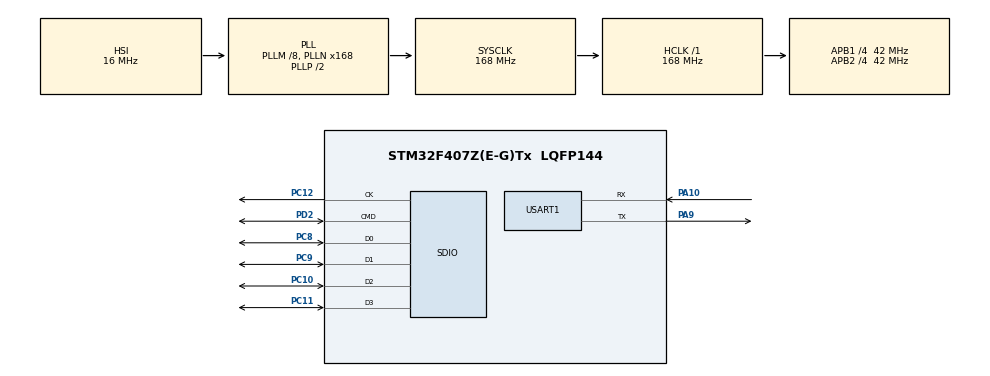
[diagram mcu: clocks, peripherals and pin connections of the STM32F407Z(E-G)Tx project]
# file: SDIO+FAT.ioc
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Dma.Request0=USART1_RX
Dma.Request1=USART1_TX
Dma.Request2=SDIO_RX
Dma.Request3=SDIO_TX
Dma.SDIO_RX.2.Direction=DMA_PERIPH_TO_MEMORY
Dma.SDIO_RX.2.FIFOMode=DMA_FIFOMODE_ENABLE
Dma.SDIO_RX.2.FIFOThreshold=DMA_FIFO_THRESHOLD_FULL
Dma.SDIO_RX.2.Instance=DMA2_Stream3
Dma.SDIO_RX.2.MemBurst=DMA_MBURST_INC4
Dma.SDIO_RX.2.MemDataAlignment=DMA_MDATAALIGN_WORD
Dma.SDIO_RX.2.MemInc=DMA_MINC_ENABLE
Dma.SDIO_RX.2.Mode=DMA_PFCTRL
Dma.SDIO_RX.2.PeriphBurst=DMA_PBURST_INC4
Dma.SDIO_RX.2.PeriphDataAlignment=DMA_PDATAALIGN_WORD
Dma.SDIO_RX.2.PeriphInc=DMA_PINC_DISABLE
Dma.SDIO_RX.2.Priority=DMA_PRIORITY_MEDIUM
Dma.SDIO_TX.3.Direction=DMA_MEMORY_TO_PERIPH
Dma.SDIO_TX.3.FIFOMode=DMA_FIFOMODE_ENABLE
Dma.SDIO_TX.3.FIFOThreshold=DMA_FIFO_THRESHOLD_FULL
Dma.SDIO_TX.3.Instance=DMA2_Stream6
Dma.SDIO_TX.3.MemBurst=DMA_MBURST_INC4
Dma.SDIO_TX.3.MemDataAlignment=DMA_MDATAALIGN_WORD
Dma.SDIO_TX.3.MemInc=DMA_MINC_ENABLE
Dma.SDIO_TX.3.Mode=DMA_PFCTRL
Dma.SDIO_TX.3.PeriphBurst=DMA_PBURST_INC4
Dma.SDIO_TX.3.PeriphDataAlignment=DMA_PDATAALIGN_WORD
Dma.SDIO_TX.3.PeriphInc=DMA_PINC_DISABLE
Dma.SDIO_TX.3.Priority=DMA_PRIORITY_MEDIUM
Dma.USART1_RX.0.Direction=DMA_PERIPH_TO_MEMORY
Dma.USART1_RX.0.FIFOMode=DMA_FIFOMODE_DISABLE
Dma.USART1_RX.0.Instance=DMA2_Stream2
Dma.USART1_RX.0.MemDataAlignment=DMA_MDATAALIGN_BYTE
Dma.USART1_RX.0.MemInc=DMA_MINC_ENABLE
Dma.USART1_RX.0.Mode=DMA_NORMAL
Dma.USART1_RX.0.PeriphDataAlignment=DMA_PDATAALIGN_BYTE
Dma.USART1_RX.0.PeriphInc=DMA_PINC_DISABLE
Dma.USART1_RX.0.Priority=DMA_PRIORITY_LOW
Dma.USART1_TX.1.Direction=DMA_MEMORY_TO_PERIPH
Dma.USART1_TX.1.FIFOMode=DMA_FIFOMODE_DISABLE
Dma.USART1_TX.1.Instance=DMA2_Stream7
Dma.USART1_TX.1.MemDataAlignment=DMA_MDATAALIGN_BYTE
Dma.USART1_TX.1.MemInc=DMA_MINC_ENABLE
Dma.USART1_TX.1.Mode=DMA_NORMAL
Dma.USART1_TX.1.PeriphDataAlignment=DMA_PDATAALIGN_BYTE
Dma.USART1_TX.1.PeriphInc=DMA_PINC_DISABLE
Dma.USART1_TX.1.Priority=DMA_PRIORITY_LOW
FATFS._CODE_PAGE=936
FATFS._MAX_LFN=255
FATFS._USE_LFN=3
FREERTOS.HEAP_NUMBER=4
FREERTOS.Tasks01=defaultTask,0,128,StartDefaultTask,Default,NULL
FREERTOS.configMINIMAL_STACK_SIZE=128
FREERTOS.configTOTAL_HEAP_SIZE=15360
Mcu.Family=STM32F4
Mcu.Name=STM32F407Z(E-G)Tx
Mcu.Package=LQFP144
NVIC.DMA2_Stream2_IRQn=true\:5\:0\:false\:false\:true\:true\:false\:true
NVIC.DMA2_Stream3_IRQn=true\:6\:0\:true\:false\:true\:true\:false\:true
NVIC.DMA2_Stream6_IRQn=true\:6\:0\:true\:false\:true\:true\:false\:true
NVIC.DMA2_Stream7_IRQn=true\:5\:0\:false\:false\:true\:true\:false\:true
NVIC.PriorityGroup=NVIC_PRIORITYGROUP_4
NVIC.SDIO_IRQn=true\:5\:0\:false\:false\:true\:true\:true\:true
NVIC.USART1_IRQn=true\:5\:0\:false\:false\:true\:true\:true\:true
PA10.Mode=Asynchronous
PA10.Signal=USART1_RX
PA9.Mode=Asynchronous
PA9.Signal=USART1_TX
PC10.Mode=SD_4_bits_Wide_bus
PC10.Signal=SDIO_D2
PC11.Mode=SD_4_bits_Wide_bus
PC11.Signal=SDIO_D3
PC12.Mode=SD_4_bits_Wide_bus
PC12.Signal=SDIO_CK
PC8.Mode=SD_4_bits_Wide_bus
PC8.Signal=SDIO_D0
PC9.Mode=SD_4_bits_Wide_bus
PC9.Signal=SDIO_D1
PD2.Mode=SD_4_bits_Wide_bus
PD2.Signal=SDIO_CMD
PH0-OSC_IN.Mode=HSE-External-Oscillator
PH0-OSC_IN.Signal=RCC_OSC_IN
PH1-OSC_OUT.Mode=HSE-External-Oscillator
PH1-OSC_OUT.Signal=RCC_OSC_OUT
ProjectManager.HeapSize=0x1000
ProjectManager.StackSize=0x1000
ProjectManager.TargetToolchain=TrueSTUDIO
RCC.48MHZClocksFreq_Value=48000000
RCC.AHBFreq_Value=168000000
RCC.APB1CLKDivider=RCC_HCLK_DIV4
RCC.APB1Freq_Value=42000000
RCC.APB1TimFreq_Value=84000000
RCC.APB2CLKDivider=RCC_HCLK_DIV4
RCC.APB2Freq_Value=42000000
RCC.APB2TimFreq_Value=84000000
RCC.CortexFreq_Value=168000000
RCC.HCLKFreq_Value=168000000
RCC.HSE_VALUE=8000000
RCC.HSI_VALUE=16000000
RCC.LSE_VALUE=32768
RCC.PLLM=8
RCC.PLLN=168
RCC.PLLQ=7
RCC.SYSCLKFreq_VALUE=168000000
RCC.SYSCLKSource=RCC_SYSCLKSOURCE_PLLCLK
RCC.VCOOutputFreq_Value=336000000
SDIO.ClockDiv=2
USART1.VirtualMode=VM_ASYNC
VP_FATFS_VS_SDIO.Mode=SDIO
VP_FREERTOS_VS_CMSIS_V1.Mode=CMSIS_V1
board=custom

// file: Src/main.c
/* USER CODE BEGIN Header */
/**
  ******************************************************************************
  * @file           : main.c
  * @brief          : Main program body
  ******************************************************************************
  * @attention
  *
  * <h2><center>&copy; Copyright (c) 2019 STMicroelectronics.
  * All rights reserved.</center></h2>
  *
  * This software component is licensed by ST under Ultimate Liberty license
  * SLA0044, the "License"; You may not use this file except in compliance with
  * the License. You may obtain a copy of the License at:
  *                             www.st.com/SLA0044
  *
  ******************************************************************************
  */
/* USER CODE END Header */

#include "main.h"
#include "cmsis_os.h"
#include "dma.h"
#include "fatfs.h"
#include "sdio.h"
#include "usart.h"
#include "gpio.h"

void SystemClock_Config(void);
void MX_FREERTOS_Init(void);

int main(void)
{

  /* MCU Configuration--------------------------------------------------------*/

  /* Reset of all peripherals, Initializes the Flash interface and the Systick. */
  HAL_Init();

  /* Configure the system clock */
  SystemClock_Config();

  /* Initialize all configured peripherals */
  MX_GPIO_Init();
  MX_DMA_Init();
  MX_SDIO_SD_Init();
  MX_USART1_UART_Init();

  /* Call init function for freertos objects (in freertos.c) */
  MX_FREERTOS_Init();

  /* Start scheduler */
  osKernelStart();

  /* We should never get here as control is now taken by the scheduler */

  /* Infinite loop */
  while (1)
  {

  }
}

void SystemClock_Config(void)
{
  RCC_OscInitTypeDef RCC_OscInitStruct = {0};
  RCC_ClkInitTypeDef RCC_ClkInitStruct = {0};

  /** Configure the main internal regulator output voltage
  */
  __HAL_RCC_PWR_CLK_ENABLE();
  __HAL_PWR_VOLTAGESCALING_CONFIG(PWR_REGULATOR_VOLTAGE_SCALE1);
  /** Initializes the CPU, AHB and APB busses clocks
  */
  RCC_OscInitStruct.OscillatorType = RCC_OSCILLATORTYPE_HSI;
  RCC_OscInitStruct.HSIState = RCC_HSI_ON;
  RCC_OscInitStruct.HSICalibrationValue = RCC_HSICALIBRATION_DEFAULT;
  RCC_OscInitStruct.PLL.PLLState = RCC_PLL_ON;
  RCC_OscInitStruct.PLL.PLLSource = RCC_PLLSOURCE_HSI;
  RCC_OscInitStruct.PLL.PLLM = 8;
  RCC_OscInitStruct.PLL.PLLN = 168;
  RCC_OscInitStruct.PLL.PLLP = RCC_PLLP_DIV2;
  RCC_OscInitStruct.PLL.PLLQ = 7;
  if (HAL_RCC_OscConfig(&RCC_OscInitStruct) != HAL_OK)
  {
    Error_Handler();
  }
  /** Initializes the CPU, AHB and APB busses clocks
  */
  RCC_ClkInitStruct.ClockType = RCC_CLOCKTYPE_HCLK|RCC_CLOCKTYPE_SYSCLK
                              |RCC_CLOCKTYPE_PCLK1|RCC_CLOCKTYPE_PCLK2;
  RCC_ClkInitStruct.SYSCLKSource = RCC_SYSCLKSOURCE_PLLCLK;
  RCC_ClkInitStruct.AHBCLKDivider = RCC_SYSCLK_DIV1;
  RCC_ClkInitStruct.APB1CLKDivider = RCC_HCLK_DIV4;
  RCC_ClkInitStruct.APB2CLKDivider = RCC_HCLK_DIV4;

  if (HAL_RCC_ClockConfig(&RCC_ClkInitStruct, FLASH_LATENCY_5) != HAL_OK)
  {
    Error_Handler();
  }
}

void Error_Handler(void)
{
}

/************************ (C) COPYRIGHT STMicroelectronics *****END OF FILE****/

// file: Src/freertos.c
/* USER CODE BEGIN Header */
/**
  ******************************************************************************
  * File Name          : freertos.c
  * Description        : Code for freertos applications
  ******************************************************************************
  * @attention
  *
  * <h2><center>&copy; Copyright (c) 2019 STMicroelectronics.
  * All rights reserved.</center></h2>
  *
  * This software component is licensed by ST under Ultimate Liberty license
  * SLA0044, the "License"; You may not use this file except in compliance with
  * the License. You may obtain a copy of the License at:
  *                             www.st.com/SLA0044
  *
  ******************************************************************************
  */
/* USER CODE END Header */

#include "FreeRTOS.h"
#include "task.h"
#include "main.h"
#include "cmsis_os.h"

/* USER CODE BEGIN Includes */
#include "fatfs.h"
/* USER CODE END Includes */

osThreadId defaultTaskHandle;

void StartDefaultTask(void const * argument);

extern void MX_FATFS_Init(void);
void MX_FREERTOS_Init(void); /* (MISRA C 2004 rule 8.1) */

void MX_FREERTOS_Init(void) {

  /* Create the thread(s) */
  /* definition and creation of defaultTask */
  osThreadDef(defaultTask, StartDefaultTask, osPriorityNormal, 0, 512);
  defaultTaskHandle = osThreadCreate(osThread(defaultTask), NULL);

}

/* USER CODE BEGIN Header_StartDefaultTask */
/**
  * @brief  Function implementing the defaultTask thread.
  * @param  argument: Not used
  * @retval None
  */
FRESULT res;
uint32_t byteswritten, bytesread;
uint8_t wtext[]="this is stm32 working with fatfa";
uint8_t rtext[100];

TCHAR mk[]="�½��ļ���";
/* USER CODE END Header_StartDefaultTask */
void StartDefaultTask(void const * argument)
{
  /* init code for FATFS */

  MX_FATFS_Init();

  /* USER CODE BEGIN StartDefaultTask */

  if (f_mount(&SDFatFS, (TCHAR const*)SDPath, 0) != FR_OK) {
	  while (1);
  } else {
	  res = f_mkdir(mk);
	  res = f_open (&SDFile, "s.txt", FA_CREATE_ALWAYS | FA_WRITE);
	  if (res != FR_OK) {
		  while (1);
	  } else {
		  res = f_write(&SDFile, wtext, sizeof(wtext), (void *)&byteswritten);

		  if ((byteswritten == 0) || (res != FR_OK))
		  {
			  while (1);
		  }
		  else
		  {
			  f_close(&SDFile);

			  if (f_open (&SDFile, "s.txt", FA_READ) != FR_OK)
			  {
				  while (1);
			  }else {
				  res = f_read (&SDFile, rtext, sizeof(rtext), (UINT*)&bytesread);

				  if ((bytesread == 0) || (res != FR_OK))
				  {
					  while (1);
				  } else {
					  f_close(&SDFile);

					  if (bytesread != byteswritten)
					  {
						  while (1);
					  }
					  else
					  {

					  }
				  }
			  }
		  }
	  }
  }

  /* Infinite loop */
  for(;;)
  {
    osDelay(1);
  }
  /* USER CODE END StartDefaultTask */
}

/************************ (C) COPYRIGHT STMicroelectronics *****END OF FILE****/
